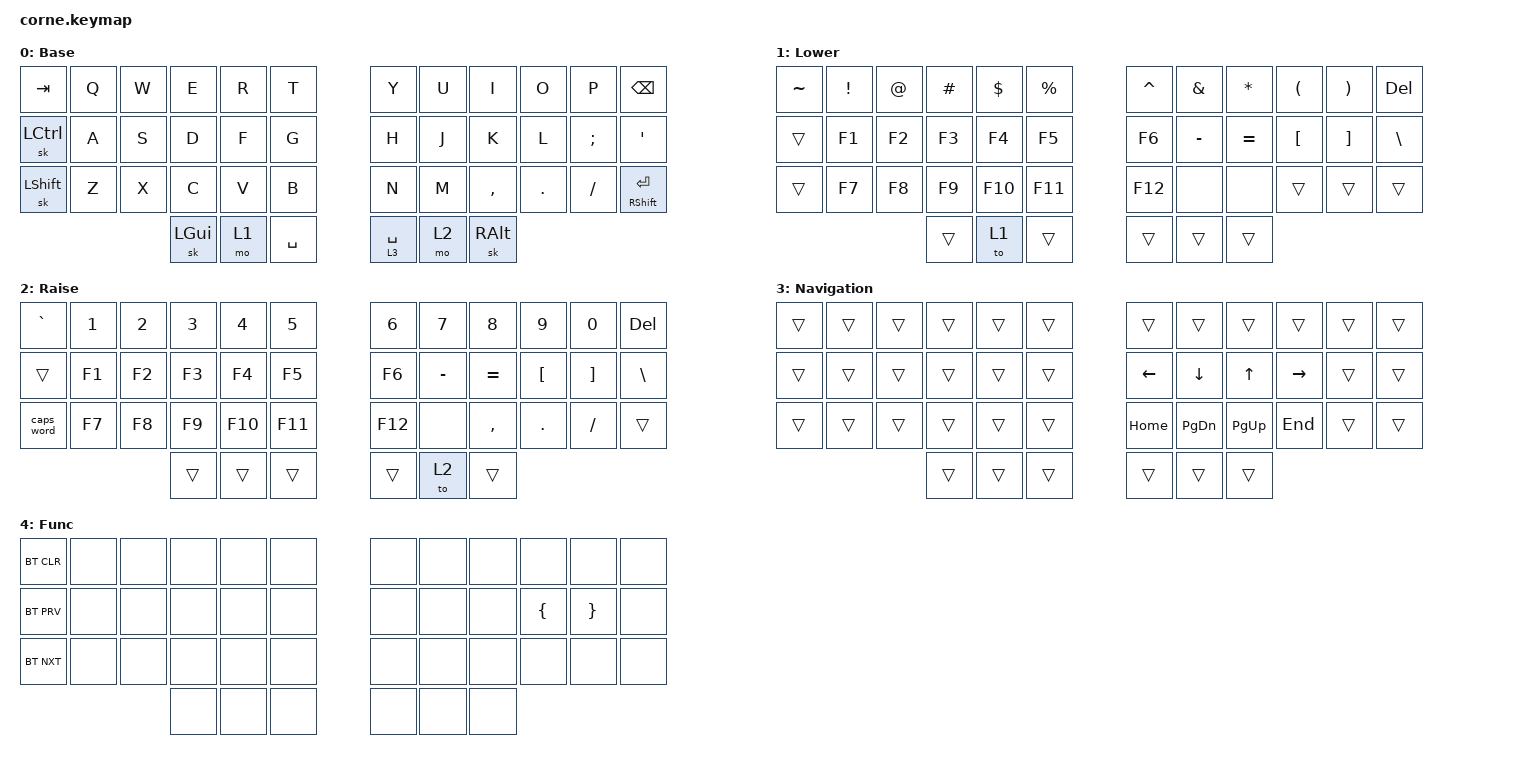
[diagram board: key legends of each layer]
/*
 * Copyright (c) 2020 The ZMK Contributors
 *
 * SPDX-License-Identifier: MIT
 */

#include <behaviors.dtsi>
#include <dt-bindings/zmk/bt.h>
#include <dt-bindings/zmk/keys.h>

/ {
    combos {
        compatible = "zmk,combos";

        combo_esc {
            timeout-ms = <50>;
            key-positions = <19 20>;
            bindings = <&kp ESC>;
        };

        combo_layer_func {
            bindings = <&mo 4>;
            key-positions = <37 40>;
        };
    };

    keymap {
        compatible = "zmk,keymap";

        base {
            // -----------------------------------------------------------------------------------------
            // |  TAB |  Q  |  W  |  E  |  R  |  T  |   |  Y  |  U   |  I  |  O  |  P  | BKSP |
            // | CTRL |  A  |  S  |  D  |  F  |  G  |   |  H  |  J   |  K  |  L  |  ;  |  '   |
            // | SHFT |  Z  |  X  |  C  |  V  |  B  |   |  N  |  M   |  ,  |  .  |  /  | ESC  |
            //                    | GUI | LWR | SPC |   | ENT | RSE  | ALT |

            bindings = <
&kp TAB         &kp Q  &kp W  &kp E         &kp R  &kp T        &kp Y        &kp U  &kp I          &kp O    &kp P     &kp BSPC
&sk LCTRL       &kp A  &kp S  &kp D         &kp F  &kp G        &kp H        &kp J  &kp K          &kp L    &kp SEMI  &kp SQT
&sk LEFT_SHIFT  &kp Z  &kp X  &kp C         &kp V  &kp B        &kp N        &kp M  &kp COMMA      &kp DOT  &kp FSLH  &mt RIGHT_SHIFT RETURN
                              &sk LEFT_GUI  &mo 1  &kp SPACE    &lt 3 SPACE  &mo 2  &sk RIGHT_ALT
            >;

            label = "Base";
        };

        lower_layer {
            // -----------------------------------------------------------------------------------------
            // |  TAB |  1  |  2  |  3  |  4  |  5  |   |  6  |  7  |  8  |  9  |  0  | BKSP |
            // | BTCLR| BT1 | BT2 | BT3 | BT4 | BT5 |   | LFT | DWN |  UP | RGT |     |      |
            // | SHFT |     |     |     |     |     |   |     |     |     |     |     |      |
            //                    | GUI |     | SPC |   | ENT |     | ALT |

            bindings = <
&kp TILDE  &kp EXCLAMATION  &kp AT  &kp POUND  &kp DLLR  &kp PRCNT    &kp CARET  &kp AMPERSAND  &kp ASTERISK  &kp LEFT_PARENTHESIS  &kp RIGHT_PARENTHESIS  &kp DELETE
&trans     &kp F1           &kp F2  &kp F3     &kp F4    &kp F5       &kp F6     &kp MINUS      &kp EQUAL     &kp LEFT_BRACKET      &kp RIGHT_BRACKET      &kp BACKSLASH
&trans     &kp F7           &kp F8  &kp F9     &kp F10   &kp F11      &kp F12    &none          &none         &trans                &trans                 &trans
                                    &trans     &to 1     &trans       &trans     &trans         &trans
            >;

            label = "Lower";
        };

        raise_layer {
            // -----------------------------------------------------------------------------------------
            // |  TAB |  !  |  @  |  #  |  $  |  %  |   |  ^  |  &  |  *  |  (  |  )  | BKSP |
            // | CTRL |     |     |     |     |     |   |  -  |  =  |  [  |  ]  |  \  |  `   |
            // | SHFT |     |     |     |     |     |   |  _  |  +  |  {  |  }  | "|" |  ~   |
            //                    | GUI |     | SPC |   | ENT |     | ALT |

            bindings = <
&kp GRAVE   &kp N1  &kp N2  &kp N3  &kp N4   &kp N5     &kp N6   &kp N7     &kp N8     &kp N9      &kp N0     &kp DELETE
&trans      &kp F1  &kp F2  &kp F3  &kp F4   &kp F5     &kp F6   &kp MINUS  &kp EQUAL  &kp LBKT    &kp RBKT   &kp BACKSLASH
&caps_word  &kp F7  &kp F8  &kp F9  &kp F10  &kp F11    &kp F12  &none      &kp COMMA  &kp PERIOD  &kp SLASH  &trans
                            &trans  &trans   &trans     &trans   &to 2      &trans
            >;

            label = "Raise";
        };

        nav {
            bindings = <
&trans  &trans  &trans  &trans  &trans  &trans    &trans    &trans         &trans       &trans     &trans  &trans
&trans  &trans  &trans  &trans  &trans  &trans    &kp LEFT  &kp DOWN       &kp UP       &kp RIGHT  &trans  &trans
&trans  &trans  &trans  &trans  &trans  &trans    &kp HOME  &kp PAGE_DOWN  &kp PAGE_UP  &kp END    &trans  &trans
                        &trans  &trans  &trans    &trans    &trans         &trans
            >;

            label = "Navigation";
        };

        func {
            bindings = <
&bt BT_CLR  &none  &none  &none  &none  &none    &none  &none  &none  &none           &none            &none
&bt BT_PRV  &none  &none  &none  &none  &none    &none  &none  &none  &kp LEFT_BRACE  &kp RIGHT_BRACE  &none
&bt BT_NXT  &none  &none  &none  &none  &none    &none  &none  &none  &none           &none            &none
                          &none  &none  &none    &none  &none  &none
            >;

            label = "Func";
        };
    };
};
